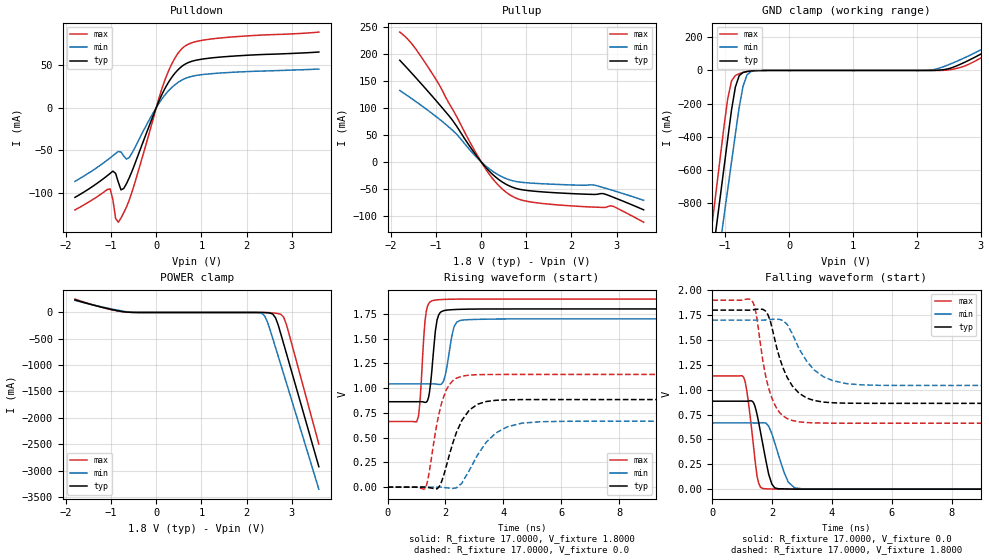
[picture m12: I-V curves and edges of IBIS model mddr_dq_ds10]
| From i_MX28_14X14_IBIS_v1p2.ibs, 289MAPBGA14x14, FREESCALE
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|   Model mddr_dq_ds10
| This model was characterised for following simulation conditions:
| Spice Models:
|  - Typ Condition
|   ..../r63536/IBIS/DDR_IBIS/io_dig_k_sstl18_dq_bs_ir_mddr_ds10/typ.model
|  - Min Condition
|   ..../r63536/IBIS/DDR_IBIS/io_dig_k_sstl18_dq_bs_ir_mddr_ds10/wcs.model
|  - Max Condition
|   ..../r63536/IBIS/DDR_IBIS/io_dig_k_sstl18_dq_bs_ir_mddr_ds10/bcs.model
[Model]  mddr_dq_ds10
Model_type I/O
Polarity   Non-Inverting
Enable   Active-Low
Vinl =   0.7750V
Vinh =   1.0250V
Vmeas =  0.9000V
Cref =   0.0F
Rref =   17.0000
Vref =   0.9000V
C_comp   3.6770pF   3.3975pF   3.9872pF
[Temperature Range]   25.0000   0.1050k   -40.0000
[Voltage Range]   1.8000V   1.7000V   1.9000V
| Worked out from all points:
|   slope of the pulldown table from 0 to 0.27 V, typ, clamps not added: 9.16 ohm
|   slope of the pullup table from 0 to 0.27 V, typ, clamps not added: 11 ohm
|   GND clamp passes 1 mA (typ) near -0.54 V on its own axis
|   POWER clamp passes 1 mA (typ) near -0.52 V on its own axis
|   rising waveform, R_fixture 17.0000, V_fixture 1.8000: 20-80 % time 182ps typ, 231ps min, 157ps max; typ from 0.863 V to 1.8 V
|   rising waveform, R_fixture 17.0000, V_fixture 0.0: 20-80 % time 654ps typ, 939ps min, 457ps max; typ from 0 V to 0.885 V
|   falling waveform, R_fixture 17.0000, V_fixture 0.0: 20-80 % time 341ps typ, 434ps min, 265ps max; typ from 0.885 V to 0 V
|   falling waveform, R_fixture 17.0000, V_fixture 1.8000: 20-80 % time 646ps typ, 853ps min, 480ps max; typ from 1.8 V to 0.863 V
[Pulldown]
|Voltage   I(typ)   I(min)   I(max)
-1.8V     -104.8mA   -86.14mA   -119.5mA
-1.02V    -76.77mA   -58.64mA   -95.07mA
-960mV    -74.16mA   -56.14mA   -107.7mA
-900mV    -76.81mA   -53.65mA   -129.5mA
-840mV    -87.12mA   -51.18mA   -133.8mA
-780mV    -96.07mA   -51.84mA   -128.8mA
-600mV    -82.19mA   -58.39mA   -108.2mA
180mV     21.15mA    14.01mA    30.57mA
420mV     40.62mA    27.02mA    58.45mA
600mV     49.5mA     33.07mA    70.41mA
1.32V     58.55mA    40.03mA    80.77mA
3.6V      64.93mA    45.05mA    88.2mA
[Pullup]
|Voltage   I(typ)   I(min)   I(max)
-1.8V     187.9mA    131.9mA    240mA
-1.56V    166.2mA    118.2mA    221mA
-1.2V     132.6mA    96.6mA     178.5mA
-600mV    72.91mA    55.75mA    92.68mA
60mV      -6.171mA   -4.665mA   -8.211mA
300mV     -26.81mA   -20.16mA   -35.88mA
540mV     -41.18mA   -30.76mA   -55.54mA
840mV     -50.85mA   -37.54mA   -69.53mA
1.2V      -54.8mA    -40.09mA   -75.74mA
2.46V     -60.53mA   -42.8mA    -83.94mA
2.88V     -64.28mA   -52.24mA   -81.61mA
3.6V      -89.08mA   -71.51mA   -112mA
[GND_clamp]
|Voltage   I(typ)   I(min)   I(max)
-1.8V     -2.928A    -3.073A    -2.817A
-1.26V    -1.31A     -1.558A    -1.105A
-1.2V     -1.131A    -1.39A     -914.4mA
-1.14V    -951.4mA   -1.222A    -724.4mA
-1.02V    -592.7mA   -886.6mA   -344.6mA
-900mV    -238.3mA   -552mA     -63.24mA
-840mV    -100.5mA   -385.1mA   -30.39mA
-720mV    -12.25mA   -96.08mA   -12.57mA
-600mV    -2.845mA   -7.055mA   -3.128mA
2.4V      3.619mA    20.01mA    318.2uA
2.82V     62.16mA    89.26mA    38.37mA
3.6V      239.3mA    251.2mA    224.6mA
[POWER_clamp]
|Voltage   I(typ)   I(min)   I(max)
-1.8V     239.3mA    228.5mA    254.1mA
-1.08V    73.76mA    81.97mA    69.98mA
-600mV    3.619mA    8.051mA    3.222mA
2.34V     -1.016mA   -17.92mA   -53.57uA
2.4V      -2.845mA   -66.67mA   -350.6uA
2.46V     -6.116mA   -174.8mA   -1.51mA
2.58V     -31.65mA   -496.3mA   -8.72mA
2.64V     -100.5mA   -663.5mA   -14.71mA
2.76V     -413.7mA   -998.3mA   -36.79mA
2.82V     -592.7mA   -1.166A    -89.26mA
2.94V     -951.4mA   -1.502A    -407.8mA
3.6V      -2.928A    -3.354A    -2.5A
[Ramp]
| variable   typ   min   max
dV/dt_r  0.5308/0.6536n   0.3994/0.9265n   0.6830/0.4566n
dV/dt_f  0.5624/0.6461n   0.3946/0.8400n   0.7423/0.4724n
R_load = 17.0000
[Rising Waveform]
R_fixture= 17.0000
V_fixture= 1.8000
V_fixture_min= 1.7000
V_fixture_max= 1.9000
|time   V(typ)   V(min)   V(max)
0s        862.7mV    1.042V     662.9mV
1.006ns   862.8mV    1.042V     660.3mV
1.116ns   863mV      1.042V     850.3mV
1.339ns   857.6mV    1.042V     1.778V
1.446ns   954.9mV    1.042V     1.864V
1.587ns   1.376V     1.043V     1.887V
1.821ns   1.765V     1.037V     1.894V
2.297ns   1.794V     1.621V     1.899V
2.535ns   1.796V     1.686V     1.9V
25ns      1.8V       1.7V       1.9V
[Rising Waveform]
R_fixture= 17.0000
V_fixture= 0.0
V_fixture_min= 0.0
V_fixture_max= 0.0
|time   V(typ)   V(min)   V(max)
0s        2.302nV    25.5nV     3.063nV
1.293ns   281.9uV    -351.7nV   -15.15mV
1.417ns   -4.749mV   -2.045uV   114.1mV
1.708ns   -17.31mV   305.6uV    643.3mV
1.871ns   59.04mV    -852.5uV   853.8mV
2.134ns   324.9mV    -10.16mV   1.033V
2.566ns   673.8mV    39.69mV    1.12V
3.413ns   865mV      455.3mV    1.137V
4.633ns   884.2mV    645.9mV    1.138V
25ns      884.7mV    665.7mV    1.138V
[Falling Waveform]
R_fixture= 17.0000
V_fixture= 0.0
V_fixture_min= 0.0
V_fixture_max= 0.0
|time   V(typ)   V(min)   V(max)
0s        884.8mV    665.7mV    1.138V
1.05ns    884.7mV    665.7mV    1.124V
1.191ns   885.1mV    665.7mV    904.7mV
1.494ns   750.6mV    665.5mV    131.2mV
1.696ns   435.8mV    668.7mV    6.08mV
1.883ns   149.5mV    633.2mV    2.393mV
2.082ns   14.21mV    469.3mV    1.163mV
2.539ns   1.498mV    70.69mV    253.5uV
3.007ns   364.8uV    3.199mV    46.05uV
25ns      2.652nV    26.29nV    3.102nV
[Falling Waveform]
R_fixture= 17.0000
V_fixture= 1.8000
V_fixture_min= 1.7000
V_fixture_max= 1.9000
|time   V(typ)   V(min)   V(max)
0s        1.8V       1.7V       1.9V
1.35ns    1.803V     1.7V       1.883V
1.453ns   1.808V     1.7V       1.78V
1.775ns   1.791V     1.701V     1.147V
1.945ns   1.683V     1.706V     952.6mV
2.365ns   1.216V     1.694V     735.8mV
2.898ns   964.1mV    1.411V     676.6mV
3.721ns   875.3mV    1.129V     664.5mV
4.984ns   863.3mV    1.049V     663mV
25ns      862.7mV    1.042V     662.9mV
